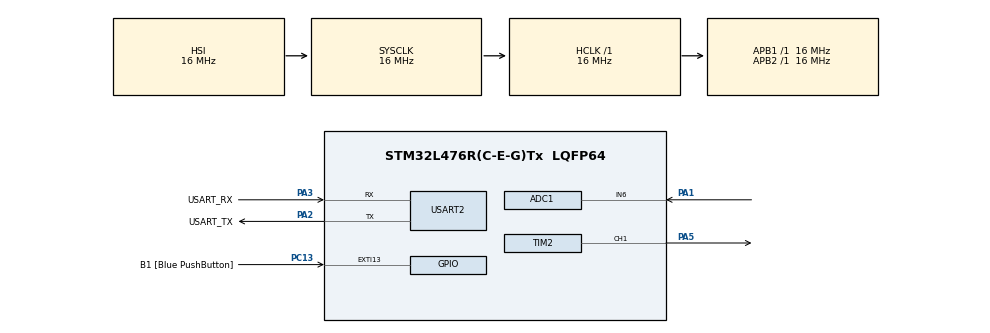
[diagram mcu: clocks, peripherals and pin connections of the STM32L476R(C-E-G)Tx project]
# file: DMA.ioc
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ADC1.Channel-0\#ChannelRegularConversion=ADC_CHANNEL_6
ADC1.ClockPrescaler=ADC_CLOCK_ASYNC_DIV2
ADC1.DMAContinuousRequests=ENABLE
ADC1.DataAlign=ADC_DATAALIGN_RIGHT
ADC1.ExternalTrigConv=ADC_EXTERNALTRIG_T4_TRGO
ADC1.NbrOfConversionFlag=1
ADC1.OffsetNumber-0\#ChannelRegularConversion=ADC_OFFSET_NONE
ADC1.Overrun=ADC_OVR_DATA_OVERWRITTEN
ADC1.Rank-0\#ChannelRegularConversion=1
ADC1.SamplingTime-0\#ChannelRegularConversion=ADC_SAMPLETIME_2CYCLES_5
ADC1.master=1
Dma.ADC1.0.Direction=DMA_PERIPH_TO_MEMORY
Dma.ADC1.0.Instance=DMA1_Channel1
Dma.ADC1.0.MemDataAlignment=DMA_MDATAALIGN_HALFWORD
Dma.ADC1.0.MemInc=DMA_MINC_ENABLE
Dma.ADC1.0.Mode=DMA_CIRCULAR
Dma.ADC1.0.PeriphDataAlignment=DMA_PDATAALIGN_HALFWORD
Dma.ADC1.0.PeriphInc=DMA_PINC_DISABLE
Dma.ADC1.0.Priority=DMA_PRIORITY_HIGH
Dma.Request0=ADC1
Mcu.Family=STM32L4
Mcu.Name=STM32L476R(C-E-G)Tx
Mcu.Package=LQFP64
NVIC.ADC1_2_IRQn=true\:0\:0\:false\:false\:true\:true\:true
NVIC.DMA1_Channel1_IRQn=true\:0\:0\:false\:false\:true\:false\:true
NVIC.PriorityGroup=NVIC_PRIORITYGROUP_4
PA1.Signal=ADCx_IN6
PA13\ (JTMS-SWDIO).GPIO_Label=TMS
PA13\ (JTMS-SWDIO).Signal=SYS_JTMS-SWDIO
PA14\ (JTCK-SWCLK).GPIO_Label=TCK
PA14\ (JTCK-SWCLK).Signal=SYS_JTCK-SWCLK
PA2.GPIO_Label=USART_TX
PA2.GPIO_Mode=GPIO_MODE_AF_PP
PA2.GPIO_PuPd=GPIO_NOPULL
PA2.GPIO_Speed=GPIO_SPEED_FREQ_VERY_HIGH
PA2.Mode=Asynchronous
PA2.Signal=USART2_TX
PA3.GPIO_Label=USART_RX
PA3.GPIO_Mode=GPIO_MODE_AF_PP
PA3.GPIO_PuPd=GPIO_NOPULL
PA3.GPIO_Speed=GPIO_SPEED_FREQ_VERY_HIGH
PA3.Mode=Asynchronous
PA3.Signal=USART2_RX
PA5.Signal=S_TIM2_CH1
PB3\ (JTDO-TRACESWO).GPIO_Label=SWO
PB3\ (JTDO-TRACESWO).Signal=SYS_JTDO-SWO
PC13.GPIO_Label=B1 [Blue PushButton]
PC13.GPIO_ModeDefaultEXTI=GPIO_MODE_IT_FALLING
PC13.GPIO_PuPd=GPIO_NOPULL
PC13.Signal=GPXTI13
PC14-OSC32_IN\ (PC14).Signal=RCC_OSC32_IN
PC15-OSC32_OUT\ (PC15).Signal=RCC_OSC32_OUT
PH0-OSC_IN\ (PH0).Signal=RCC_OSC_IN
PH1-OSC_OUT\ (PH1).Signal=RCC_OSC_OUT
ProjectManager.HeapSize=0x200
ProjectManager.StackSize=0x400
ProjectManager.TargetToolchain=Makefile
RCC.ADCFreq_Value=64000000
RCC.AHBFreq_Value=16000000
RCC.APB1Freq_Value=16000000
RCC.APB1TimFreq_Value=16000000
RCC.APB2Freq_Value=16000000
RCC.APB2TimFreq_Value=16000000
RCC.CortexFreq_Value=16000000
RCC.HCLKFreq_Value=16000000
RCC.HSE_VALUE=8000000
RCC.HSI_VALUE=16000000
RCC.LSE_VALUE=32768
RCC.MSI_VALUE=4000000
RCC.PLLN=10
RCC.PLLSourceVirtual=RCC_PLLSOURCE_HSI
RCC.PREFETCH_ENABLE=1
RCC.SYSCLKFreq_VALUE=16000000
RCC.SYSCLKSource=RCC_SYSCLKSOURCE_HSI
RCC.USBFreq_Value=64000000
RCC.VCOOutputFreq_Value=160000000
SH.ADCx_IN6.0=ADC1_IN6,IN6-Single-Ended
SH.S_TIM2_CH1.0=TIM2_CH1,PWM Generation1 CH1
TIM2.Channel-PWM\ Generation1\ CH1=TIM_CHANNEL_1
TIM2.OCFastMode_PWM-PWM\ Generation1\ CH1=TIM_OCFAST_ENABLE
TIM2.Period=1000
TIM2.Prescaler=8000
TIM2.Pulse-PWM\ Generation1\ CH1=600
TIM4.Channel-Output\ Compare1\ No\ Output=TIM_CHANNEL_1
TIM4.Period=10000
TIM4.TIM_MasterOutputTrigger=TIM_TRGO_UPDATE
USART2.VirtualMode-Asynchronous=VM_ASYNC
VP_TIM2_VS_ClockSourceINT.Mode=Internal
VP_TIM4_VS_no_output1.Mode=Output Compare1 No Output
board=NUCLEO-L476RG

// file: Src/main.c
/* USER CODE BEGIN Header */
/**
  ******************************************************************************
  * @file           : main.c
  * @brief          : Main program body
  ******************************************************************************
  * @attention
  *
  * <h2><center>&copy; Copyright (c) 2020 STMicroelectronics.
  * All rights reserved.</center></h2>
  *
  * This software component is licensed by ST under BSD 3-Clause license,
  * the "License"; You may not use this file except in compliance with the
  * License. You may obtain a copy of the License at:
  *                        opensource.org/licenses/BSD-3-Clause
  *
  ******************************************************************************
  */
/* USER CODE END Header */

#include "main.h"
#include "adc.h"
#include "dma.h"
#include "tim.h"
#include "usart.h"
#include "gpio.h"

/* USER CODE BEGIN Includes */
#include "ADCsrc.h"
#include "PA5_Timer.h"
#include <stdlib.h>
#include "Yin.h"
#include <stdio.h>

/* USER CODE END Includes */

/* USER CODE BEGIN PV */
/* Private variables ---------------------------------------------------------*/

/* USER CODE END PV */

void SystemClock_Config(void);
/* USER CODE BEGIN PFP */
/* Private function prototypes -----------------------------------------------*/
void DMA_Init(uint16_t arg);
void SystemClock_Config_MSI(void);
/* USER CODE END PFP */

/* USER CODE BEGIN 0 */
#define SAMPLE_SIZE 4096
#define FREQUENCY_CORRECTION 2

//volatile uint32_t Buffer_Ping[SAMPLE_SIZE];
//volatile uint32_t Buffer_Pong[SAMPLE_SIZE];
//volatile uint32_t *pReadyWrite = Buffer_Ping;
//volatile uint32_t *pReadyProcess = Buffer_Pong;

/*trying out 16 bit, ADC resolution is only 12-bit to begin with */
/* DMA data bus may be 32-bit, but setting transfer to HALFWORD seems to work */
volatile uint16_t Buffer_Ping[SAMPLE_SIZE];
volatile uint16_t Buffer_Pong[SAMPLE_SIZE];
volatile uint16_t *pReadyWrite = Buffer_Ping;
volatile uint16_t *pReadyProcess = Buffer_Pong;
volatile uint8_t ADC_DMA_DONE = 0;
/* USER CODE END 0 */

int main(void)
{
  /* USER CODE BEGIN 1 */
  char Message[40] = "thing\n\r";
  uint16_t mask = 0XFFFF;
  uint16_t i;
  float frequency = 0;
  int beat = 0;
  //float samples[SAMPLE_SIZE];
  Yin yin;

  /* USER CODE END 1 */

  /* MCU Configuration--------------------------------------------------------*/

  /* Reset of all peripherals, Initializes the Flash interface and the Systick. */
  HAL_Init();

  /* Configure the system clock */
  SystemClock_Config();

  /* Initialize all configured peripherals */
  MX_GPIO_Init();
  MX_DMA_Init();
  MX_ADC1_Init();
  MX_TIM4_Init();
  MX_USART2_UART_Init();
  MX_TIM2_Init();
  /* USER CODE BEGIN 2 */
  DMA_Init(SAMPLE_SIZE);

  /* USER CODE END 2 */

  /* Infinite loop */
  /* USER CODE BEGIN WHILE */
  //HAL_TIM_Base_Init(&htim2);
  //HAL_TIM_Base_Start(&htim2);
  //HAL_TIM_Base_Init(&htim4);
  HAL_TIM_Base_Start(&htim4);
  HAL_TIM_PWM_Start(&htim2, TIM_CHANNEL_1);
  HAL_ADC_Start_DMA(&hadc1, (uint16_t *) pReadyProcess, SAMPLE_SIZE);

  /*transmit sring over usart2 */
  HAL_UART_Transmit(&huart2, (uint8_t *) &Message, 15, 0xFFF);
  while (1)
  {

  while(ADC_DMA_DONE == 0);

  /*Initialize Yin struct and get pitch. Yin_init dynamically allocates memory*/
  /* and as a result the buffer needs to be freed after each calculation */
  Yin_init(&yin, SAMPLE_SIZE, YIN_DEFAULT_THRESHOLD);
  frequency = Yin_getPitch(&yin, pReadyProcess);
  free(yin.yinBuffer);

  /*beat calc */
  //frequency = 79.3;
  //beat = calcBeat(frequency, 82.41);

/*
  HAL_Delay(100);
  if(pwm_value == 0) step = 100;
  if(pwm_value == 2000) step = -100;
  pwm_value += step;
*/
  //set_PWM(beat);

  sprintf(Message, "The Note is %f\n\r", frequency);
  /*transmit sring over usart2 */
  HAL_UART_Transmit(&huart2, (uint8_t *) &Message, 40, 0xFFF);

  /*Scale Frequency by scaling factor */
  //frequency /= FREQUENCY_CORRECTION;

  ADC_DMA_DONE = 0;

    /* USER CODE END WHILE */

  }
}

void SystemClock_Config(void)
{
  RCC_OscInitTypeDef RCC_OscInitStruct = {0};
  RCC_ClkInitTypeDef RCC_ClkInitStruct = {0};
  RCC_PeriphCLKInitTypeDef PeriphClkInit = {0};

  /** Initializes the CPU, AHB and APB busses clocks
  */
  RCC_OscInitStruct.OscillatorType = RCC_OSCILLATORTYPE_HSI;
  RCC_OscInitStruct.HSIState = RCC_HSI_ON;
  RCC_OscInitStruct.HSICalibrationValue = RCC_HSICALIBRATION_DEFAULT;
  RCC_OscInitStruct.PLL.PLLState = RCC_PLL_NONE;
  if (HAL_RCC_OscConfig(&RCC_OscInitStruct) != HAL_OK)
  {
    Error_Handler();
  }
  /** Initializes the CPU, AHB and APB busses clocks
  */
  RCC_ClkInitStruct.ClockType = RCC_CLOCKTYPE_HCLK|RCC_CLOCKTYPE_SYSCLK
                              |RCC_CLOCKTYPE_PCLK1|RCC_CLOCKTYPE_PCLK2;
  RCC_ClkInitStruct.SYSCLKSource = RCC_SYSCLKSOURCE_HSI;
  RCC_ClkInitStruct.AHBCLKDivider = RCC_SYSCLK_DIV1;
  RCC_ClkInitStruct.APB1CLKDivider = RCC_HCLK_DIV1;
  RCC_ClkInitStruct.APB2CLKDivider = RCC_HCLK_DIV1;

  if (HAL_RCC_ClockConfig(&RCC_ClkInitStruct, FLASH_LATENCY_0) != HAL_OK)
  {
    Error_Handler();
  }
  PeriphClkInit.PeriphClockSelection = RCC_PERIPHCLK_USART2|RCC_PERIPHCLK_ADC;
  PeriphClkInit.Usart2ClockSelection = RCC_USART2CLKSOURCE_PCLK1;
  PeriphClkInit.AdcClockSelection = RCC_ADCCLKSOURCE_PLLSAI1;
  PeriphClkInit.PLLSAI1.PLLSAI1Source = RCC_PLLSOURCE_HSI;
  PeriphClkInit.PLLSAI1.PLLSAI1M = 1;
  PeriphClkInit.PLLSAI1.PLLSAI1N = 8;
  PeriphClkInit.PLLSAI1.PLLSAI1P = RCC_PLLP_DIV7;
  PeriphClkInit.PLLSAI1.PLLSAI1Q = RCC_PLLQ_DIV2;
  PeriphClkInit.PLLSAI1.PLLSAI1R = RCC_PLLR_DIV2;
  PeriphClkInit.PLLSAI1.PLLSAI1ClockOut = RCC_PLLSAI1_ADC1CLK;
  if (HAL_RCCEx_PeriphCLKConfig(&PeriphClkInit) != HAL_OK)
  {
    Error_Handler();
  }
  /** Configure the main internal regulator output voltage
  */
  if (HAL_PWREx_ControlVoltageScaling(PWR_REGULATOR_VOLTAGE_SCALE1) != HAL_OK)
  {
    Error_Handler();
  }
}

/* USER CODE BEGIN 4 */

void DMA_Init(uint16_t arg)
{
//arg number of conversions
//uint32_t ADC_Results[arg];

/* Enable DMA1 Clock */
RCC->AHB1ENR |= RCC_AHB1ENR_DMA1EN;

//Enable DMA channel
DMA1_Channel1->CCR &= ~DMA_CCR_EN;

/*DMA1 channel 1 config for ADC1 */
//disable memory to memory mode
DMA1_Channel1->CCR &= ~DMA_CCR_MEM2MEM;

//Channel Priorty level
// 00 = low, 01 = medium, 10 = high, 11 = very high
//set to high priority
DMA1_Channel1->CCR &= ~DMA_CCR_PL;
DMA1_Channel1->CCR |= DMA_CCR_PL_1;

//peripheral size
//00 = 8bit, 01 = 16-bit, 10 = 32 bit, 11 = reserved
DMA1_Channel1->CCR &= ~DMA_CCR_PSIZE;
DMA1_Channel1->CCR |= DMA_CCR_PSIZE_0;

//Memory size
//00 = 8bit, 01 = 16-bit, 10 = 32 bit, 11 = reserved
DMA1_Channel1->CCR &= ~DMA_CCR_MSIZE;
DMA1_Channel1->CCR |= DMA_CCR_MSIZE_0;

//peripheral increment mode
//0 = disabled, 1 = enabled
DMA1_Channel1->CCR &= ~DMA_CCR_PINC;

//memory increment mode
//0 = disabled, 1 = enabled
DMA1_Channel1->CCR &= ~DMA_CCR_MINC;
DMA1_Channel1->CCR |= DMA_CCR_MINC;

//Circular
// 0 = disabled, 1 = enabled
DMA1_Channel1->CCR |= DMA_CCR_CIRC;

//Data trasnfer rate
//O read from peripheral
//1 read from memory
DMA1_Channel1->CCR &= ~DMA_CCR_DIR;

//number of ADC results to transfer
DMA1_Channel1->CNDTR = arg;

//peripheral address registers
DMA1_Channel1->CPAR = (uint32_t) &(ADC1->DR);

//memory address registers
//ping pong buffer
DMA1_Channel1->CMAR =  (uint32_t) pReadyProcess;

//transfer complete interrupt enable
DMA1_Channel1->CCR |= DMA_CCR_TCIE;

//disable half complete
DMA1_Channel1->CCR &= ~DMA_CCR_HTIE;
DMA1_Channel1->CCR |= DMA_CCR_HTIE;

// configure ADC for DMA in circular mode
//ADC1->CFGR |= ADC_CFGR_DMACFG;
//DMA enable?
//ADC1->CFGR |= ADC_CFGR_DMAEN;

//set DMA interrupt priority
NVIC_SetPriority(DMA1_Channel1_IRQn, 1);

//enable DMA INTERRUPT
NVIC_EnableIRQ(DMA1_Channel1_IRQn);

//DMA Channel selection
//map DMA channel 1 to ADC1
//0000: Channel 1 mapped to ADC1
DMA1_CSELR->CSELR &= ~DMA_CSELR_C1S;

//Enable DMA channel
DMA1_Channel1->CCR |= DMA_CCR_EN;

}

void DMA1_Channel1_IRQHandler(void){

if((DMA1->ISR & DMA_ISR_TCIF1) == DMA_ISR_TCIF1){

  //write 1 to clear flag
  DMA1->IFCR |= DMA_IFCR_CTCIF1;

  if (pReadyWrite == Buffer_Ping){
    pReadyWrite = Buffer_Pong;
    pReadyProcess = Buffer_Ping;
  }
  else{
    pReadyWrite = Buffer_Ping;
    pReadyProcess = Buffer_Pong;
  }

  //DMA memory address
  DMA1_Channel1->CMAR = (uint32_t) pReadyWrite;
  ADC_DMA_DONE = 1;
 }

//clear flags
DMA1->IFCR |= (DMA_IFCR_CHTIF1 | DMA_IFCR_CGIF1 | DMA_IFCR_CTEIF1);
}

/* USER CODE END 4 */

void Error_Handler(void)
{
  while(1)
  {
  }
}

/************************ (C) COPYRIGHT STMicroelectronics *****END OF FILE****/
